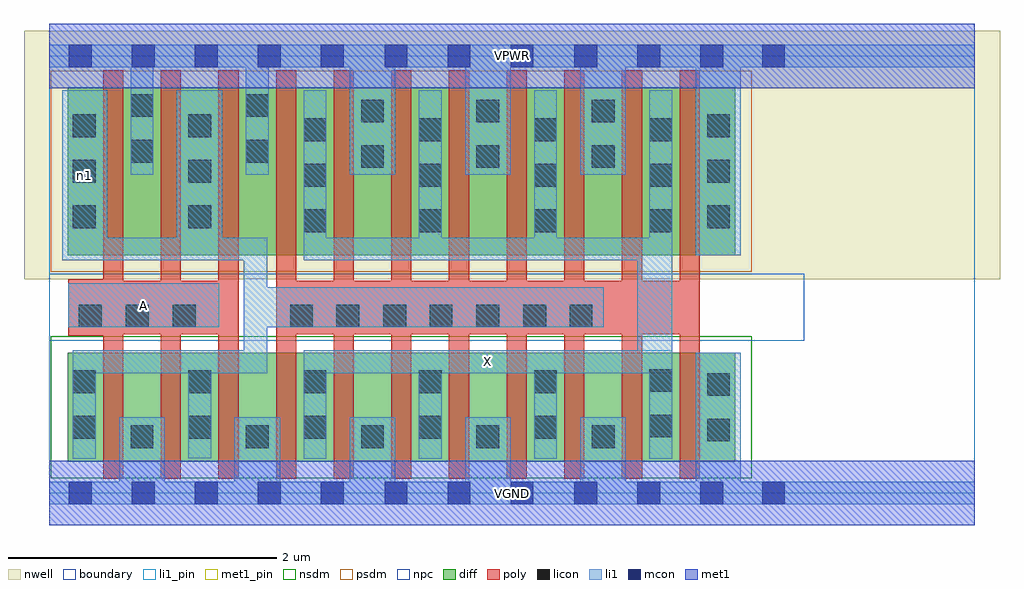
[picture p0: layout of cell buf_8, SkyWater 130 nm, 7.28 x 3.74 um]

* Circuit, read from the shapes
.subckt buf_8 A VGND VPWR X n1
XM1 VGND A n1 VSUBS sky130_fd_pr__nfet_01v8 w=0.81 l=0.15 m=3
XM2 X n1 VGND VSUBS sky130_fd_pr__nfet_01v8 w=0.81 l=0.15 m=8
XM3 VPWR A n1 n2 sky130_fd_pr__pfet_01v8 w=1.25 l=0.15 m=3
XM4 X n1 VPWR n2 sky130_fd_pr__pfet_01v8 w=1.25 l=0.15 m=8
.ends

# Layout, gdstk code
import gdstk
lib = gdstk.Library(unit=1e-6, precision=1e-09)
def R(c, l, rs):  # rectangles x0, y0, x1, y1
    for r in rs: c.add(gdstk.rectangle(r[:2], r[2:], *l))
def A(c, l, x, y, w, h, nx, ny, dx, dy):  # array of equal rectangles
    R(c, l, [(x+i*dx, y+j*dy, x+i*dx+w, y+j*dy+h) for i in range(nx) for j in range(ny)])
nwell = (64, 20)
diff = (65, 20)
poly = (66, 20)
licon = (66, 44)
li1_pin = (67, 16)
li1 = (67, 20)
mcon = (67, 44)
met1_pin = (68, 16)
met1 = (68, 20)
nsdm = (93, 44)
psdm = (94, 20)
npc = (95, 20)
boundary = (235, 4)

buf_8 = lib.new_cell('buf_8')
R(buf_8, nwell, [(-0.19,1.595,7.09,3.45), (0,1.595,6.9,3.45)])
R(buf_8, diff, [(0.135,0.235,5.115,1.045), (0.135,1.775,5.115,3.025)])
A(buf_8, poly, 0.4, 0.105, 0.15, 3.05, 11, 1, 0.43, 0)
R(buf_8, poly, [(0.14,1.175,0.55,1.595), (0.14,1.185,1.41,1.585), (1.69,1.185,4.85,1.585)])
A(buf_8, licon, 0.605, 0.335, 0.17, 0.17, 5, 1, 0.86, 0)
A(buf_8, licon, 0.175, 0.405, 0.17, 0.17, 5, 2, 0.86, 0.34)
A(buf_8, licon, 0.22, 1.235, 0.17, 0.17, 3, 1, 0.35, 0)
A(buf_8, licon, 2.835, 1.235, 0.17, 0.17, 3, 1, 0.35, 0)
A(buf_8, licon, 1.895, 1.945, 0.17, 0.17, 4, 3, 0.86, 0.34)
A(buf_8, licon, 0.175, 1.975, 0.17, 0.17, 1, 3, 0, 0.34)
A(buf_8, licon, 1.035, 1.975, 0.17, 0.17, 1, 3, 0, 0.34)
A(buf_8, licon, 4.905, 1.975, 0.17, 0.17, 1, 3, 0, 0.34)
A(buf_8, licon, 2.325, 2.425, 0.17, 0.17, 3, 2, 0.86, 0.34)
R(buf_8, licon, [(4.905,0.385,5.075,0.555), (4.475,0.415,4.645,0.585), (4.905,0.725,5.075,0.895), (4.475,0.755,4.645,0.925), (1.795,1.235,1.965,1.405), (2.14,1.235,2.31,1.405), (2.49,1.235,2.66,1.405), (3.88,1.235,4.05,1.405), (0.605,2.465,0.775,2.635), (1.465,2.465,1.635,2.635), (0.605,2.805,0.775,2.975), (1.465,2.805,1.635,2.975)])
R(buf_8, li1_pin, [(1.895,0.895,4.645,1.065), (0.14,1.235,1.265,1.565)])
A(buf_8, li1, 0.52, -0.085, 0.34, 0.65, 5, 1, 0.86, 0)
A(buf_8, li1, 1.895, 0.255, 0.17, 0.81, 3, 1, 0.86, 0)
A(buf_8, li1, 1.895, 1.735, 0.17, 1.27, 3, 1, 0.86, 0)
A(buf_8, li1, 2.24, 2.375, 0.34, 0.97, 3, 1, 0.86, 0)
R(buf_8, li1, [(0,-0.085,6.9,0.085), (4.82,-0.085,5.155,1.045), (0.175,0.255,0.345,1.065), (4.475,0.255,4.645,3.005), (1.035,0.26,1.205,1.065), (0.175,0.895,1.625,1.065), (1.45,0.895,1.625,1.905), (1.895,0.895,4.645,1.065), (4.385,0.895,4.645,1.905), (0.14,1.235,1.265,1.565), (1.45,1.235,4.135,1.535), (0.095,1.735,0.43,3.005), (0.095,1.735,1.625,1.905), (0.95,1.735,1.29,3.005), (1.895,1.735,4.645,1.905), (4.82,1.775,5.155,3.345), (0.605,2.375,0.775,3.345), (1.465,2.375,1.635,3.345), (0,3.175,6.9,3.345)])
A(buf_8, mcon, 0.145, -0.085, 0.17, 0.17, 5, 2, 0.47, 3.26)
A(buf_8, mcon, 2.5, -0.085, 0.17, 0.17, 3, 2, 0.47, 3.26)
A(buf_8, mcon, 3.915, -0.085, 0.17, 0.17, 3, 2, 0.47, 3.26)
R(buf_8, mcon, [(5.315,-0.085,5.485,0.085), (5.315,3.175,5.485,3.345)])
R(buf_8, met1_pin, [(0,-0.24,6.9,0.24), (0,3.02,6.9,3.5)])
R(buf_8, met1, [(0,-0.24,6.9,0.24), (0,3.02,6.9,3.5)])
R(buf_8, nsdm, [(0.01,0.11,5.24,1.17)])
R(buf_8, psdm, [(0.01,1.65,5.24,3.15)])
R(buf_8, npc, [(0,1.135,5.63,1.635)])
R(buf_8, boundary, [(0,0,6.9,3.26)])
buf_8.add(gdstk.Label('A', (0.702,1.4), layer=67, texttype=5))
buf_8.add(gdstk.Label('X', (3.27,0.98), layer=67, texttype=5))
buf_8.add(gdstk.Label('n1', (0.262,2.37), layer=67, texttype=5))
buf_8.add(gdstk.Label('VPWR', (3.45,3.26), layer=68, texttype=5))
buf_8.add(gdstk.Label('VGND', (3.45,0), layer=68, texttype=5))
buf_8.add(gdstk.Label('A', (0.702,1.4), layer=67, texttype=16))
buf_8.add(gdstk.Label('X', (3.27,0.98), layer=67, texttype=16))
buf_8.add(gdstk.Label('VPWR', (3.45,3.26), layer=68, texttype=16))
buf_8.add(gdstk.Label('VGND', (3.45,0), layer=68, texttype=16))

lib.write_gds('buf_8.gds')
